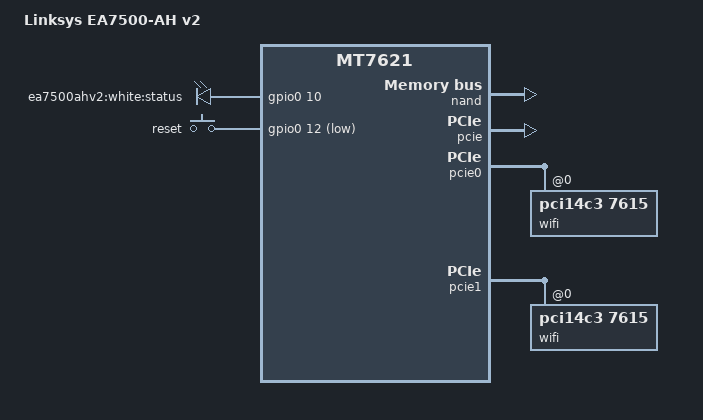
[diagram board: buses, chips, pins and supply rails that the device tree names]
/dts-v1/;

#include "mt7621.dtsi"

#include <dt-bindings/gpio/gpio.h>
#include <dt-bindings/input/input.h>

/ {
	compatible = "linksys,ea7500ahv2", "mediatek,mt7621-soc";
	model = "Linksys EA7500-AH v2";

	chosen {
		bootargs = "console=ttyS0,115200";
	};

	aliases {
		led-boot = &status;
		led-failsafe = &status;
		led-running = &status;
		led-upgrade = &status;
	};

	leds {
		compatible = "gpio-leds";
		
		status: status {
			label = "ea7500ahv2:white:status";
			gpios = <&gpio0 10 GPIO_ACTIVE_HIGH>;
		};
	};

	keys {
		compatible = "gpio-keys";

		reset {
			label = "reset";
			gpios = <&gpio0 12 GPIO_ACTIVE_LOW>;
			linux,code = <KEY_RESTART>;
		};
	};
};

&gdma {
	status = "okay";
};

&hsdma {
	status = "okay";
};

&nand {
	status = "okay";

	partitions {
		compatible = "fixed-partitions";
		#address-cells = <1>;
		#size-cells = <1>;

		partition@0 {
			label = "boot";
			reg = <0x00000000 0x00080000>;
			read-only;
		};

		partition@00080000 {
			label = "u_env";
			reg = <0x00080000 0x00040000>;
			read-only;
		};

		factory: partition@000c0000 {
			label = "factory";
			reg = <0x000c0000 0x00040000>;
			read-only;
		};

		partition@00100000 {
			label = "s_env";
			reg = <0x00100000 0x00040000>;
			read-only;
		};

		devinfo: partition@00140000 {
			label = "devinfo";
			reg = <0x00140000 0x00040000>;
			read-only;
		};

		partition@00180000 {
			label = "kernel";
			reg = <0x00180000 0x00400000>;
		};

		partition@00580000 {
			label = "ubi";
			reg = <0x00580000 0x02400000>;
		};

		partition@02980000 {
			label = "alt_kernel";
			reg = <0x02980000 0x00400000>;
			read-only;
		};

		partition@02d80000 {
			label = "alt_rootfs";
			reg = <0x02d80000 0x02400000>;
			read-only;
		};

		partition@05180000 {
			label = "sysdiag";
			reg = <0x05180000 0x00100000>;
			read-only;
		};

		partition@05280000 {
			label = "syscfg";
			reg = <0x05280000 0x02d00000>;
		};
	};
};

&pcie {
	status = "okay";
};

&pcie0 {
	wifi@0,0 {
		compatible = "pci14c3,7615";
		reg = <0x0000 0 0 0 0>;
		mediatek,mtd-eeprom = <&factory 0x0000>;
	};
};

&pcie1 {
	wifi@0,0 {
		compatible = "pci14c3,7615";
		reg = <0x0000 0 0 0 0>;
		mediatek,mtd-eeprom = <&factory 0x8000>;
		ieee80211-freq-limit = <5000000 6000000>;
	};
};

&ethernet {
	mediatek,portmap = "wllll";
};

&pinctrl {
	state_default: pinctrl0 {
		gpio {
			ralink,group = "jtag", "uart2", "uart3", "wdt";
			ralink,function = "gpio";
		};
	};
};
